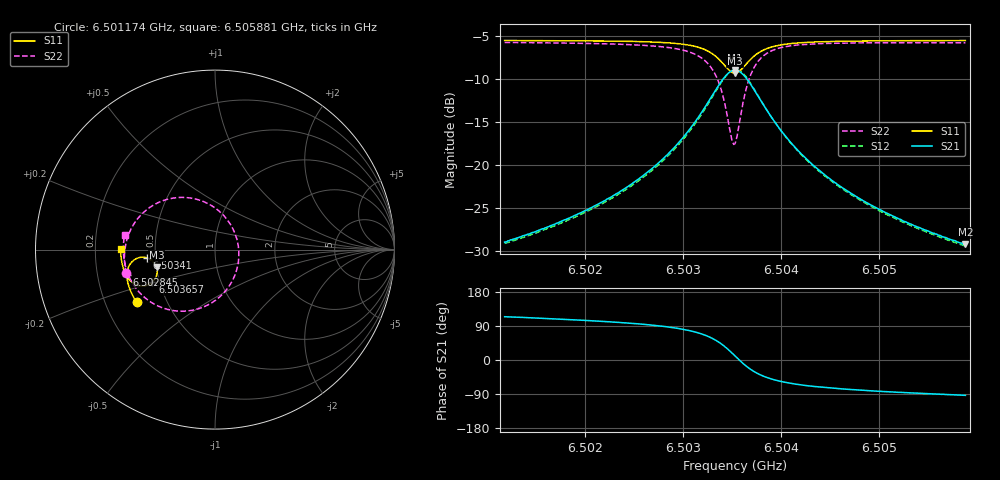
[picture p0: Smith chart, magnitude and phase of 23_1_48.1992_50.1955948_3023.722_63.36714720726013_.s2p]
#  HZ  S  RI  R  50.00
! Rohde & Schwarz Vector Network Analyzer
! Rohde-Schwarz,ZNB20-2Port,1311601062101988,3.16
! Created: UTC 3/20/2024, 11:37:02 AM
! freq[Hz]  re:S11  im:S11  re:S21  im:S21  re:S12  im:S12  re:S22  im:S22
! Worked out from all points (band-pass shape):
!   401 points, 6.501174 GHz to 6.505881 GHz, reference 50 ohm
!   highest |S21| = -9.02 dB at 6.503528 GHz (marker M1); lowest = -29.2 dB at 6.505881 GHz (marker M2)
!   |S21| within 3 dB of the highest: 6.503292 GHz to 6.503763 GHz (471.1 kHz wide, 0.00724 % of centre)
!   lowest |S11| = -9.4 dB at 6.503528 GHz (marker M3), VSWR 2.03, Z = 25 - j5.64 ohm
!   |S11| at or under -10 dB: nowhere
!   |S22| runs from -17.6 to -5.8 dB; largest |S21 - S12| = 0.012
!   S11 on the Smith chart (normalised r, x): 6.501174 GHz: 0.34, -0.27; 6.502845 GHz: 0.33, -0.12; 6.50341 GHz: 0.45, -0.05; 6.503657 GHz: 0.46, -0.20; 6.505881 GHz: 0.31, +0.00
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6.5011741e9  -0.4364 -0.2946  -0.0147 0.0326  -0.0129 0.0327  -0.4953 -0.1325
6.5019625e9  -0.4688 -0.2343  -0.0137 0.0514  -0.0112 0.0509  -0.5046 -0.0447
6.5023979e9  -0.4831 -0.194  -0.0103 0.0721  -0.00715 0.0708  -0.4989 0.021
6.502751e9  -0.4903 -0.1529  -0.000273 0.1035  0.00363 0.1008  -0.4759 0.0976
6.5028451e9  -0.4907 -0.1393  0.00569 0.1159  0.00956 0.1129  -0.4629 0.1244
6.5030452e9  -0.4848 -0.1045  0.0311 0.1529  0.0347 0.148  -0.4105 0.1956
6.5031864e9  -0.4682 -0.0742  0.0731 0.1881  0.0756 0.1818  -0.3293 0.2556
6.5033158e9  -0.4304 -0.0471  0.1539 0.2142  0.1543 0.2076  -0.1821 0.291
6.50341e9  -0.3816 -0.0449  0.2493 0.1957  0.2492 0.1912  -0.0168 0.2436
6.5034924e9  -0.337 -0.0763  0.3303 0.1168  0.3329 0.1127  0.1123 0.0876
6.5035277e9  -0.3258 -0.0997  0.348 0.0658  0.3521 0.0603  0.1327 -0.00889
6.5035512e9  -0.3227 -0.1168  0.3512 0.0295  0.3557 0.0225  0.1294 -0.0753
6.5035865e9  -0.3252 -0.1421  0.343 -0.0227  0.3469 -0.032  0.0996 -0.1683
6.5036571e9  -0.3485 -0.181  0.2933 -0.1018  0.2934 -0.1141  -0.0175 -0.296
6.5037512e9  -0.3912 -0.2015  0.2114 -0.1462  0.2062 -0.157  -0.1848 -0.3433
6.5038219e9  -0.4183 -0.2016  0.1617 -0.1513  0.1547 -0.1595  -0.2773 -0.3294
6.5039042e9  -0.4421 -0.1942  0.1195 -0.1448  0.1121 -0.1505  -0.3515 -0.2963
6.504069e9  -0.4722 -0.173  0.0698 -0.1226  0.063 -0.1252  -0.4319 -0.2262
6.5043161e9  -0.4951 -0.1418  0.0357 -0.0945  0.0307 -0.0951  -0.4808 -0.1459
6.5046809e9  -0.5114 -0.1023  0.0153 -0.0688  0.0118 -0.0683  -0.5046 -0.0668
6.5051046e9  -0.5205 -0.062  0.00552 -0.0515  0.003 -0.0508  -0.5107 -0.00303
6.5058812e9  -0.5261 0.00488  -0.002 -0.0347  -0.0033 -0.0338  -0.5039 0.0831
